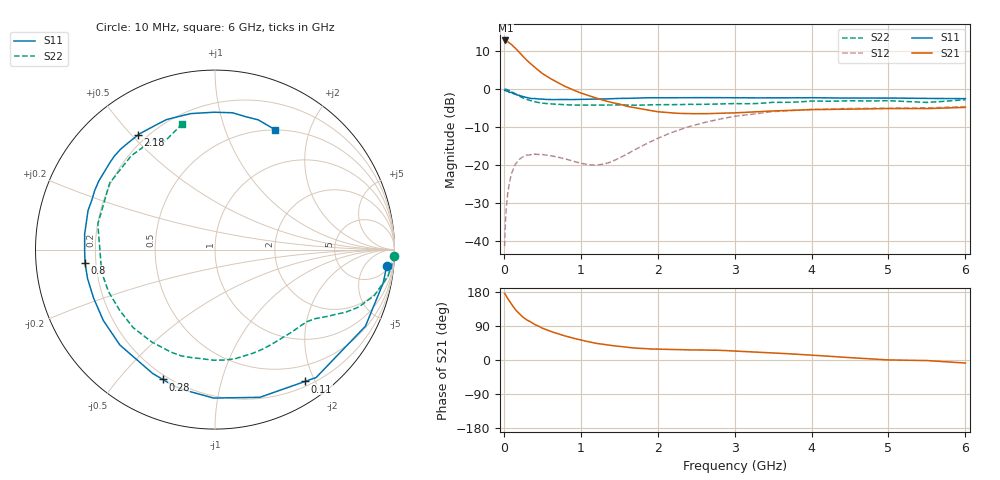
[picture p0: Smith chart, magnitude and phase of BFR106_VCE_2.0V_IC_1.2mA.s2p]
! Infineon Technologies  Discrete & RF Semiconductors
! BFR106
! VCE =  2.0 V,  IC =  1.2 mA
! Common Emitter S-Parameters:  Nov 2015
# GHz  S  MA  R  50
!  f  S11  S21  S12  S22
! GHz  MAG  ANG  MAG  ANG  MAG  ANG  MAG  ANG
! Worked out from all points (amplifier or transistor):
!   210 points, 10 MHz to 6 GHz, reference 50 ohm
!   highest |S21| = 12.8 dB at 20 MHz (marker M1)
!   |S21| within 3 dB of that: start of sweep to 195.4 MHz
!   unconditionally stable (mu >= 1): 837.2 MHz to end of sweep
!   at 185 MHz: K = 0.21, MSG = 14.5 dB, |S12| = -18.9 dB
!   at 1.52 GHz: K = 1.35, MAG = 3.4 dB, |S12| = -18.0 dB
!   at 6 GHz: K = 1.02, MAG = -1.0 dB, |S12| = -4.6 dB
!   S11 on the Smith chart (normalised r, x): 10 MHz: 7, -18; 110 MHz: 0.27, -1.86; 280 MHz: 0.18, -0.66; 800 MHz: 0.16, -0.05; 2.18 GHz: 0.17, +0.52; 6 GHz: 0.50, +1.51
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0.01  0.9608 -5.6  4.36 175.7  0.0085 88.1  0.9986 -1.9
0.02  0.9555 -11.2  4.364 173.0  0.017 83.5  0.9944 -3.6
0.05  0.9406 -27.0  4.22 162.0  0.0419 74.8  0.9753 -8.7
0.1  0.9086 -51.7  3.868 147.0  0.0771 61.5  0.9236 -16.1
0.11  0.8893 -55.7  3.767 144.4  0.0818 58.5  0.9107 -17.2
0.15  0.8601 -73.1  3.451 132.5  0.1021 49.6  0.8624 -21.8
0.2  0.8272 -90.5  3.057 122.3  0.118 41.5  0.8089 -25.5
0.24  0.8013 -102.0  2.755 114.8  0.1263 35.7  0.7702 -27.8
0.28  0.7797 -111.9  2.502 108.6  0.132 31.5  0.7414 -29.8
0.4  0.7506 -134.9  1.936 93.9  0.1384 22.3  0.6787 -34.5
0.5  0.737 -147.6  1.602 84.0  0.1369 17.6  0.6512 -38.0
0.6  0.7284 -158.3  1.383 75.9  0.1329 15.0  0.6378 -41.9
0.8  0.7282 -174.1  1.079 63.2  0.1199 14.5  0.6212 -50.5
1.02  0.7311 172.2  0.873 51.8  0.1043 22.3  0.6145 -60.6
1.4  0.7471 153.6  0.664 38.3  0.1099 50.6  0.6186 -80.0
2.02  0.7668 129.3  0.5 28.4  0.228 65.5  0.6207 -114.3
2.18  0.7692 123.9  0.483 27.6  0.2661 63.6  0.6226 -123.4
2.72  0.7698 107.2  0.476 25.9  0.3842 51.7  0.6319 -154.2
3.1  0.767 98.1  0.491 22.8  0.4488 42.0  0.6398 -173.5
4.1  0.7661 81.5  0.536 11.6  0.5421 19.4  0.6911 144.5
5.1  0.7595 70.6  0.553 -0.1  0.5616 3.7  0.6946 118.3
6  0.7472 63.2  0.573 -8.0  0.5865 -6.5  0.7232 104.7
